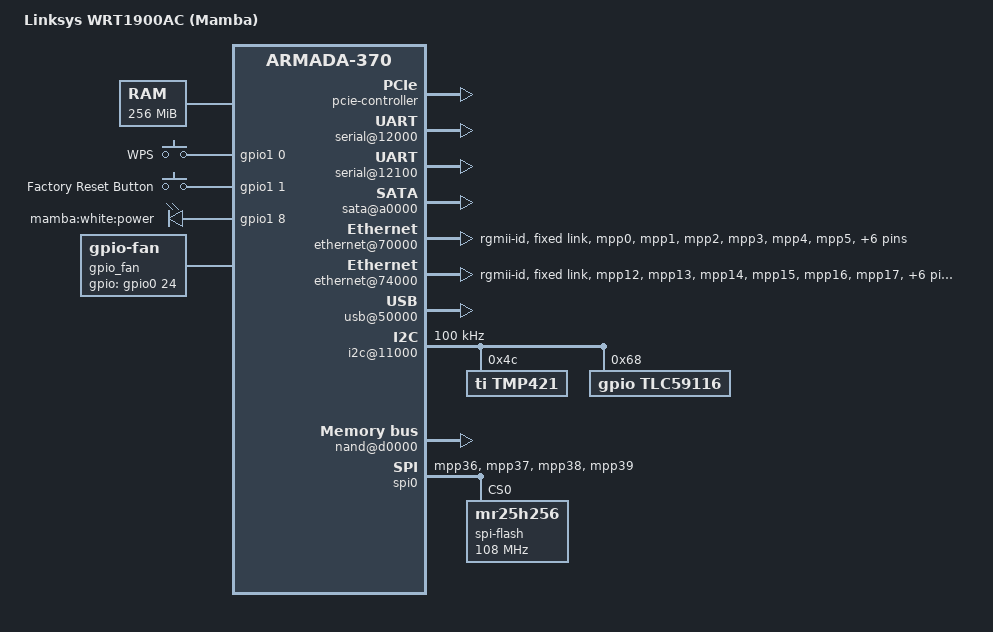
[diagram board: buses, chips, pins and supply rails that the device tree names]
/*
 * Device Tree file for the Linksys WRT1900AC (Mamba).
 *
 * Note: this board is shipped with a new generation boot loader that
 * remaps internal registers at 0xf1000000. Therefore, if earlyprintk
 * is used, the CONFIG_DEBUG_MVEBU_UART_ALTERNATE option should be
 * used.
 *
 * Copyright (C) 2014 Imre Kaloz <kaloz@openwrt.org>
 *
 * Based on armada-xp-axpwifiap.dts:
 *
 *       Copyright (C) 2013 Marvell
 *
 *       Thomas Petazzoni <thomas.petazzoni@free-electrons.com>
 *
 * This file is licensed under the terms of the GNU General Public
 * License version 2.  This program is licensed "as is" without any
 * warranty of any kind, whether express or implied.
 */

/dts-v1/;
#include <dt-bindings/gpio/gpio.h>
#include <dt-bindings/input/input.h>
#include "armada-xp-mv78230.dtsi"

/ {
	model = "Linksys WRT1900AC (Mamba)";
	compatible = "linksys,mamba", "marvell,armadaxp-mv78230", "marvell,armadaxp", "marvell,armada-370-xp";

	chosen {
		bootargs = "console=ttyS0,115200 earlyprintk";
	};

	memory {
		device_type = "memory";
		reg = <0x00000000 0x00000000 0x00000000 0x10000000>; /* 256MB */
	};

	soc {
		ranges = <MBUS_ID(0xf0, 0x01) 0 0 0xf1000000 0x100000
			  MBUS_ID(0x01, 0x1d) 0 0 0xfff00000 0x100000>;

		pcie-controller {
			status = "okay";

			/* Etron EJ168 USB 3.0 controller */
			pcie@1,0 {
				/* Port 0, Lane 0 */
				status = "okay";
			};

			/* First mini-PCIe port */
			pcie@2,0 {
				/* Port 0, Lane 1 */
				status = "okay";
			};

			/* Second mini-PCIe port */
			pcie@3,0 {
				/* Port 0, Lane 3 */
				status = "okay";
			};
		};

		internal-regs {
			pinctrl {
				pmx_ge0: pmx-ge0 {
					marvell,pins = "mpp0", "mpp1", "mpp2", "mpp3",
						       "mpp4", "mpp5", "mpp6", "mpp7",
						       "mpp8", "mpp9", "mpp10", "mpp11";
					marvell,function = "ge0";
				};

				pmx_ge1: pmx-ge1 {
					marvell,pins = "mpp12", "mpp13", "mpp14", "mpp15",
						       "mpp16", "mpp17", "mpp18", "mpp19",
						       "mpp20", "mpp21", "mpp22", "mpp23";
					marvell,function = "ge1";
				};

				pmx_keys: pmx-keys {
					marvell,pins = "mpp32", "mpp33";
					marvell,function = "gpio";
				};

				pmx_spi: pmx-spi {
					marvell,pins = "mpp36", "mpp37", "mpp38", "mpp39";
					marvell,function = "spi";
				};

				power_led_pin: power-led-pin {
					marvell,pins = "mpp40";
					marvell,function = "gpio";
				};

				gpio_fan_pin: gpio-fan-pin {
					marvell,pins = "mpp24";
					marvell,function = "gpio";
				};

			};

			serial@12000 {
				clock-frequency = <250000000>;
				status = "okay";
			};

			serial@12100 {
				clock-frequency = <250000000>;
				status = "okay";
			};

			sata@a0000 {
				nr-ports = <1>;
				status = "okay";
			};

			ethernet@70000 {
				pinctrl-0 = <&pmx_ge0>;
				pinctrl-names = "default";
				status = "okay";
				phy-mode = "rgmii-id";
				fixed-link {
					speed = <1000>;
					full-duplex;
				};
			};

			ethernet@74000 {
				pinctrl-0 = <&pmx_ge1>;
				pinctrl-names = "default";
				status = "okay";
				phy-mode = "rgmii-id";
				fixed-link {
					speed = <1000>;
					full-duplex;
				};
			};

			/* USB part of the eSATA/USB 2.0 port */
			usb@50000 {
				status = "okay";
			};

			i2c@11000 {
				status = "okay";
				clock-frequency = <100000>;

				tmp421@4c {
					compatible = "ti,tmp421";
					reg = <0x4c>;
				};

				tlc59116@68 {
					#gpio-cells = <2>;
					compatible = "gpio,tlc59116";
					reg = <0x68>;
					gpio-controller;
				};
			};

			nand@d0000 {
				status = "okay";
				num-cs = <1>;
				marvell,nand-keep-config;
				marvell,nand-enable-arbiter;
				nand-on-flash-bbt;
				nand-ecc-strength = <4>;
				nand-ecc-step-size = <512>;


				partition@0 {
					label = "u-boot";
					reg = <0x0000000 0x100000>;  /* 1MB */
					read-only;
				};

				partition@100000 {
					label = "u_env";
					reg = <0x100000 0x40000>;    /* 256KB */
				};

				partition@140000 {
					label = "s_env";
					reg = <0x140000 0x40000>;    /* 256KB */
				};

				partition@900000 {
					label = "devinfo";
					reg = <0x900000 0x100000>;    /* 1MB */
					read-only;
				};

				partition@a00000 {
					label = "kernel1";
					reg = <0xa00000 0x2800000>;    /* 3MB */
				};

				partition@d00000 {
					label = "rootfs1";
					reg = <0xd00000 0x2500000>;    /* 37MB */
				};

				partition@3200000 {
					label = "kernel2";
					reg = <0x3200000 0x2800000>;    /* 3MB */
				};

				partition@3500000 {
					label = "rootfs2";
					reg = <0x3500000 0x2500000>;    /* 37MB */
				};

				/* Last MB is for the BBT, i.e. not writable */
				partition@5a00000 {
					label = "syscfg";
					reg = <0x5a00000 0x2600000>;    /* 38MB */
				};
			};

			spi0: spi@10600 {
				status = "okay";
				pinctrl-0 = <&pmx_spi>;
				pinctrl-names = "default";

				spi-flash@0 {
					#address-cells = <1>;
					#size-cells = <1>;
					compatible = "mr25h256";
					reg = <0>; /* Chip select 0 */
					spi-max-frequency = <108000000>;
				};
			};
		};
	};

	gpio_keys {
		compatible = "gpio-keys";
		#address-cells = <1>;
		#size-cells = <0>;
		pinctrl-0 = <&pmx_keys>;
		pinctrl-names = "default";

		button@1 {
			label = "WPS";
			linux,code = <KEY_WPS_BUTTON>;
			gpios = <&gpio1 0 GPIO_ACTIVE_HIGH>;
		};

		button@2 {
			label = "Factory Reset Button";
			linux,code = <KEY_RESTART>;
			gpios = <&gpio1 1 GPIO_ACTIVE_HIGH>;
		};
	};

	gpio-leds {
		compatible = "gpio-leds";
		pinctrl-0 = <&power_led_pin>;
		pinctrl-names = "default";

		power {
			label = "mamba:white:power";
			gpios = <&gpio1 8 GPIO_ACTIVE_HIGH>;
			default-state = "on";
		};
	};

	gpio_fan {
		/* SUNON HA4010V4-0000-C99 */
		compatible = "gpio-fan";
		gpios = <&gpio0 24 0>;

		gpio-fan,speed-map = <0    0
				      4500 1>;
	};

	mvsw61xx {
		compatible = "marvell,88e6171";
		status = "okay";
		reg = <0x10>;

		mii-bus = <&mdio>;
		cpu-port-0 = <5>;
		cpu-port-1 = <6>;
	};

};
